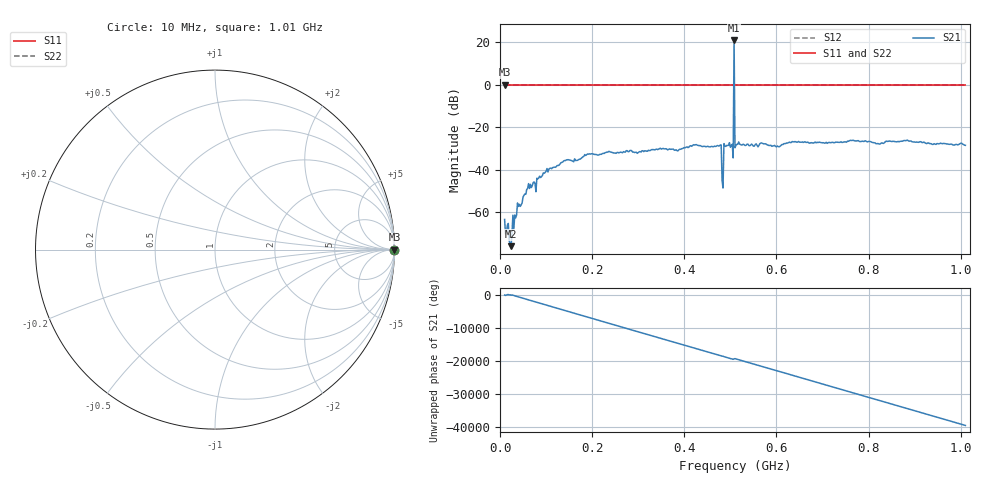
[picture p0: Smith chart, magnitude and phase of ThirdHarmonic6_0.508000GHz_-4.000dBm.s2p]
! 8/15/2025 3:24:28 PM
! C:\ANRITSUVNA\TEMP\TEMP.S2P
! CHANNEL.1
! TR.MEASUREMENT
! RAW.DATA
! RF.CORRECTION.OFF
! AVERAGING.OFF
! IF.BANDWIDTH: 5KHZ
! SWEEPTYPE:  FREQ.SWEEP(Linear)
! Reference Plane Port Info
! PORT:  PORT1  PORT2
! DISTANCE:  0  m  0  m
! TIME:  0  s  0  s
! PHASE.OFFSET:  0  deg.  0  deg.
! LOSS:  0  dB  0  dB
! REF.LOSS:  0  dB  0  dB
! REF.FREQ:  0  Hz  0  Hz
! Power Info
! POWER:  -20  dBm  -20  dBm
! EFF.POWER:  -20  dBm  -20  dBm
! SOURCE.ATTEN:  0  dB  0  dB
! TEST.ATTEN:  0  dB  0  dB
# GHZ S RI R 50.0
! FREQ.GHZ  S11RE  S11IM  S21RE  S21IM  S12RE  S12IM  S22RE  S22IM
!; PortSelection: Port_12
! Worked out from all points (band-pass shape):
!   501 points, 10 MHz to 1.01 GHz, reference 50 ohm
!   highest |S21| = 20.82 dB at 508 MHz (marker M1); lowest = -76.1 dB at 24 MHz (marker M2)
!   |S21| within 3 dB of the highest: 507.8916 MHz to 508.1187 MHz (227.1 kHz wide, 0.0447 % of centre)
!   lowest |S11| = 0.0 dB at 10 MHz (marker M3)
!   |S11| at or under -10 dB: nowhere
!   |S22| runs from 0.0 to 0.0 dB; largest |S21 - S12| = 11
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0.01  1 0  -0.000269 -0.000611  1 0  1 0
0.022  1 0  0.000145 -0.000107  1 0  1 0
0.024  1 0  -0.000154 2.71e-05  1 0  1 0
0.036  1 0  -0.000825 -0.0002  1 0  1 0
0.062  1 0  -0.0041 -0.00223  1 0  1 0
0.106  1 0  -0.00745 -0.00702  1 0  1 0
0.142  1 0  -0.0154 -0.00532  1 0  1 0
0.178  1 0  -0.0189 -0.00274  1 0  1 0
0.344  1 0  0.0284 -0.0103  1 0  1 0
0.476  1 0  0.0118 0.0342  1 0  1 0
0.48  1 0  -0.000497 -0.0381  1 0  1 0
0.486  1 0  0.0358 0.0195  1 0  1 0
0.49  1 0  -0.0242 -0.0254  1 0  1 0
0.502  1 0  -0.0115 0.0352  1 0  1 0
0.504  1 0  0.035 0.0179  1 0  1 0
0.508  1 0  -0.2472 10.99  1 0  1 0
0.51  1 0  -0.0272 0.018  1 0  1 0
0.512  1 0  0.0163 0.0334  1 0  1 0
0.514  1 0  0.0375 -0.0115  1 0  1 0
0.678  1 0  -0.0295 -0.0306  1 0  1 0
0.844  1 0  0.043 0.0185  1 0  1 0
1.01  1 0  -0.0368 0.00514  1 0  1 0
